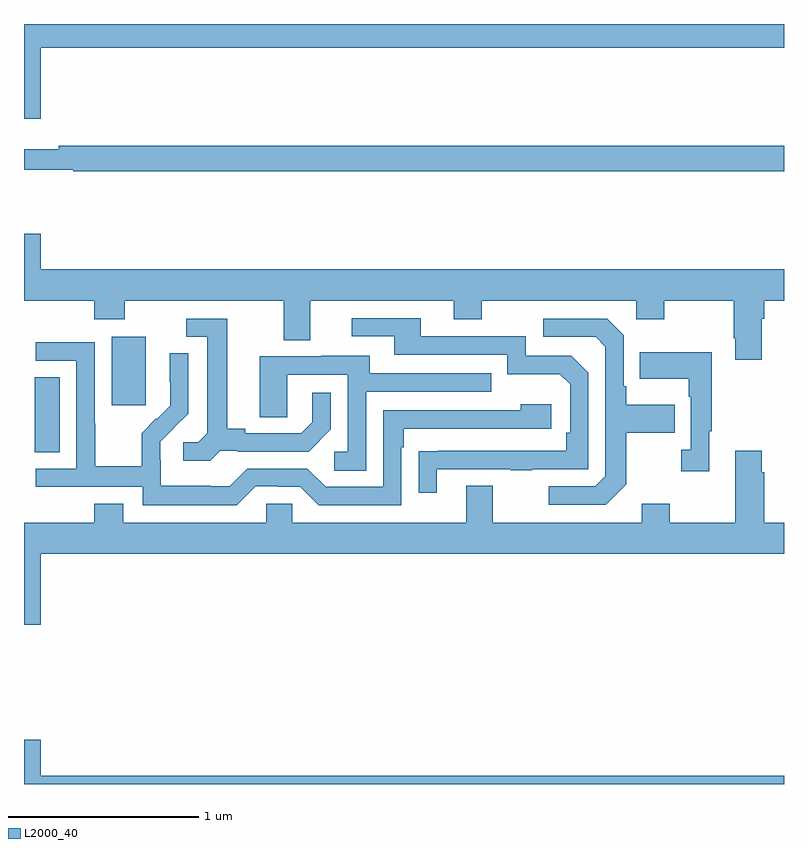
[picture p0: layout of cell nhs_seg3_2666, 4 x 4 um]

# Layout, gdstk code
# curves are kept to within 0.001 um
import gdstk
lib = gdstk.Library(unit=1e-6, precision=1e-09)
def R(c, l, rs):  # rectangles x0, y0, x1, y1
    for r in rs: c.add(gdstk.rectangle(r[:2], r[2:], *l))
def P(c, l, *ps):  # polygons
    for p in ps: c.add(gdstk.Polygon(p, *l))
L2000_40 = (2000, 40)

nhs_seg3_2666 = lib.new_cell('nhs_seg3_2666')
R(nhs_seg3_2666, L2000_40, [(249.056,672.145,249.187,672.542), (249.461,672.393,249.64,672.754)])
P(nhs_seg3_2666, L2000_40, [(249.088,674.276),(253,674.276),(253,674.4),(249,674.4),(249,673.902),(249.088,673.902)],
  [(253,673.76),(249.184,673.76),(249.184,673.741),(249,673.741),(249,673.632),(249.26,673.632),(249.26,673.624),(253,673.624)],
  [(252.883,672.848),(252.896,672.848),(252.896,672.944),(253,672.944),(253,673.108),(249.088,673.108),(249.088,673.297),(249,673.297),(249,672.944),(249.371,672.944),(249.371,672.845),(249.531,672.845),(249.531,672.944),(250.367,672.944),(250.367,672.736),(250.507,672.736),(250.507,672.944),(251.261,672.944),(251.261,672.845),(251.409,672.845),(251.409,672.944),(252.222,672.944),(252.222,672.845),(252.369,672.845),(252.369,672.944),(252.736,672.944),(252.736,672.745),(252.743,672.745),(252.743,672.633),(252.883,672.633)],
  [(251.173,672.057),(251.563,672.057),(251.563,672.052),(251.675,672.052),(251.675,672.057),(251.97,672.057),(251.97,672.564),(251.88,672.654),(251.64,672.654),(251.64,672.756),(251.089,672.756),(251.089,672.852),(250.725,672.852),(250.725,672.756),(250.949,672.756),(250.949,672.66),(251.544,672.66),(251.544,672.557),(251.821,672.557),(251.874,672.504),(251.874,672.25),(251.854,672.25),(251.854,672.153),(251.077,672.152),(251.077,671.934),(251.173,671.934)],
  [(250.032,672.153),(250.126,672.153),(250.126,672.15),(250.498,672.15),(250.614,672.266),(250.614,672.46),(250.517,672.46),(250.517,672.303),(250.46,672.246),(250.165,672.246),(250.165,672.269),(250.069,672.269),(250.069,672.849),(249.855,672.849),(249.855,672.753),(249.965,672.753),(249.965,672.245),(249.918,672.198),(249.837,672.198),(249.837,672.101),(249.98,672.101)],
  [(252.169,671.977),(252.169,672.25),(252.425,672.25),(252.425,672.397),(252.169,672.397),(252.169,672.493),(252.156,672.493),(252.156,672.762),(252.069,672.849),(251.733,672.849),(251.733,672.753),(252.009,672.753),(252.06,672.702),(252.06,672.021),(252.006,671.967),(251.763,671.967),(251.763,671.871),(252.063,671.871)],
  [(250.221,671.967),(250.337,671.967),(250.337,671.964),(250.455,671.964),(250.551,671.868),(250.986,671.868),(250.986,672.173),(250.999,672.173),(250.999,672.27),(251.776,672.27),(251.776,672.4),(251.615,672.4),(251.615,672.366),(250.89,672.366),(250.89,671.964),(250.587,671.964),(250.491,672.06),(250.176,672.06),(250.083,671.967),(249.983,671.967),(249.983,671.971),(249.72,671.971),(249.72,672.105),(249.718,672.105),(249.718,672.202),(249.864,672.35),(249.864,672.668),(249.768,672.668),(249.768,672.514),(249.77,672.514),(249.77,672.392),(249.699,672.321),(249.696,672.324),(249.619,672.247),(249.619,672.073),(249.375,672.073),(249.375,672.296),(249.372,672.296),(249.372,672.726),(249.063,672.726),(249.063,672.627),(249.276,672.627),(249.276,672.06),(249.063,672.06),(249.063,671.964),(249.624,671.964),(249.624,671.867),(250.121,671.867)],
  [(252.607,672.257),(252.619,672.257),(252.619,672.673),(252.241,672.673),(252.241,672.533),(252.498,672.533),(252.498,672.437),(252.51,672.437),(252.51,672.158),(252.459,672.158),(252.459,672.045),(252.607,672.045)],
  [(250.8,672.465),(251.459,672.465),(251.459,672.561),(250.819,672.561),(250.819,672.655),(250.565,672.655),(250.565,672.651),(250.241,672.651),(250.241,672.331),(250.386,672.331),(250.386,672.555),(250.704,672.555),(250.704,672.15),(250.632,672.15),(250.632,672.049),(250.8,672.049)],
  [(249.088,671.612),(253,671.612),(253,671.776),(252.896,671.776),(252.896,672.041),(252.883,672.041),(252.883,672.154),(252.743,672.154),(252.743,671.776),(252.399,671.776),(252.399,671.875),(252.251,671.875),(252.251,671.776),(251.467,671.776),(251.467,671.971),(251.327,671.971),(251.327,671.776),(250.413,671.776),(250.413,671.874),(250.275,671.874),(250.275,671.776),(249.523,671.776),(249.523,671.875),(249.371,671.875),(249.371,671.776),(249,671.776),(249,671.238),(249.088,671.238)],
  [(253,670.444),(249.088,670.444),(249.088,670.633),(249,670.633),(249,670.4),(253,670.4)])

lib.write_gds('nhs_seg3_2666.gds')
